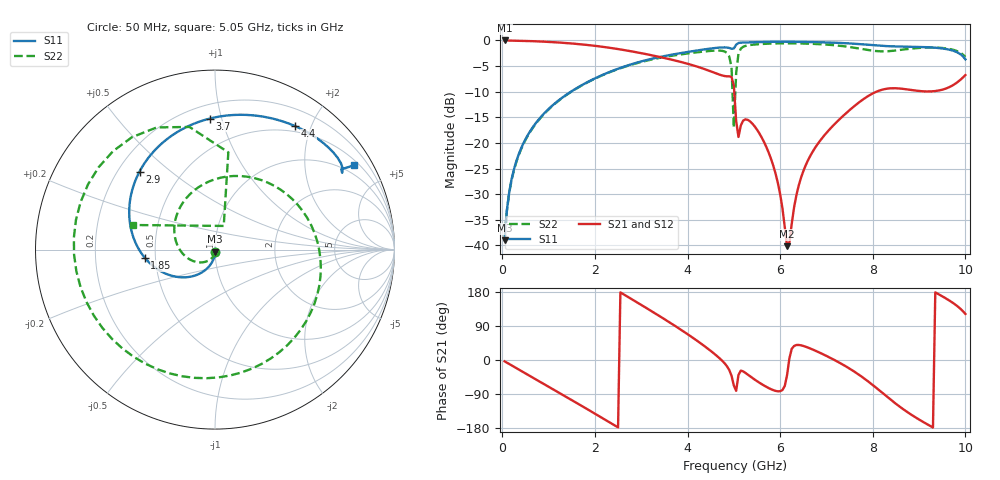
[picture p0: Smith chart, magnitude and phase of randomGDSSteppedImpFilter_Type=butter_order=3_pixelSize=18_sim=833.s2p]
! freq	dB(S11)	phase(S11)	dB(S12)	phase(S12)
!  dB(S21)	phase(S21)	dB(S22)	phase(S22)
!S-par simulation data
#  GHz  S  DB  R 50
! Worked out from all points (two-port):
!   200 points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, 50 MHz to 10 GHz, reference 50 ohm
!   highest |S21| = -0.02 dB at 50 MHz (marker M1); lowest = -40.1 dB at 6.15 GHz (marker M2)
!   |S21| within 3 dB of the highest: start of sweep to 3.285 GHz
!   lowest |S11| = -39.0 dB at 50 MHz (marker M3), VSWR 1.02, Z = 50.2 - j1.11 ohm
!   |S11| at or under -10 dB: start of sweep to 1.484 GHz
!   |S22| runs from -39.1 to -0.6 dB; largest |S21 - S12| = 0
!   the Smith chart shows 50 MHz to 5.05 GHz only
!   S11 on the Smith chart (normalised r, x): 50 MHz: 1.00, -0.02; 1.85 GHz: 0.44, -0.05; 2.9 GHz: 0.29, +0.39; 3.7 GHz: 0.29, +0.92; 4.4 GHz: 0.42, +1.77; 5.05 GHz: 0.65, +3.47
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0.05  -39.00 -81.6  -0.02 -3.6  -0.02 -3.6  -39.10 -84.1
0.5  -19.30 -111.6  -0.12 -35.1  -0.12 -35.1  -19.44 -137.9
1.75  -8.57 -168.6  -0.82 -123.6  -0.82 -123.6  -8.63 99.9
1.85  -8.09 -173.4  -0.92 -130.8  -0.92 -130.8  -8.15 90.3
2.9  -4.37 134.0  -2.33 152.8  -2.33 152.8  -4.47 -9.6
3.4  -3.25 107.9  -3.25 115.5  -3.25 115.5  -3.42 -57.8
3.7  -2.73 92.4  -3.87 92.4  -3.87 92.4  -2.95 -88.4
4.4  -1.72 57.0  -5.71 33.5  -5.71 33.5  -2.14 -171.0
4.85  -1.40 34.5  -7.02 -16.3  -7.02 -16.3  -2.45 115.5
4.95  -1.65 31.1  -7.14 -41.5  -7.14 -41.5  -5.24 82.2
5  -1.58 32.5  -8.79 -67.4  -8.79 -67.4  -17.04 69.7
5.05  -0.84 31.2  -15.73 -81.4  -15.73 -81.4  -6.41 163.4
5.15  -0.45 22.6  -16.62 -28.0  -16.62 -28.0  -1.62 119.0
5.35  -0.40 11.2  -15.81 -43.0  -15.81 -43.0  -0.91 79.5
5.85  -0.28 -12.8  -24.40 -79.4  -24.40 -79.4  -0.62 16.5
6.15  -0.28 -26.0  -40.14 -39.4  -40.14 -39.4  -0.58 -13.8
6.7  -0.34 -48.3  -21.75 27.8  -21.75 27.8  -0.68 -63.1
7.2  -0.47 -67.2  -16.12 -1.8  -16.12 -1.8  -0.98 -109.0
7.7  -0.72 -85.0  -12.12 -38.7  -12.12 -38.7  -1.59 -167.9
8.35  -1.15 -105.7  -9.38 -101.1  -9.38 -101.1  -2.11 81.4
8.95  -1.26 -125.6  -9.82 -153.5  -9.82 -153.5  -1.51 -4.1
10  -3.71 176.1  -6.77 121.5  -6.77 121.5  -3.23 -84.2
